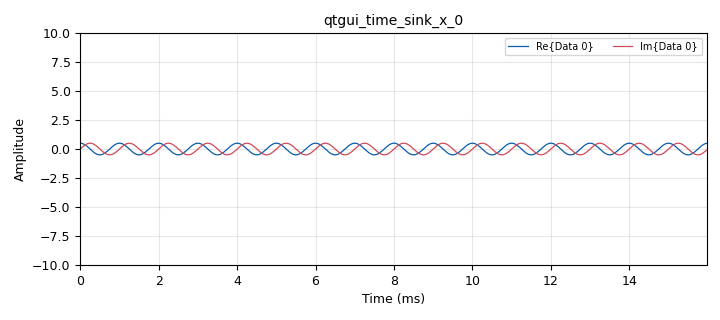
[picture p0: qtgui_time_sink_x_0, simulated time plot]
<?xml version='1.0' encoding='utf-8'?>
<?grc format='1' created='3.7.7'?>
<flow_graph>
<block>
<key>options</key>
<param><key>id</key><value>blocks_multiply_const</value></param>
<param><key>generate_options</key><value>qt_gui</value></param>
<param><key>category</key><value>Custom</value></param>
</block>
<block>
<key>variable</key>
<param><key>id</key><value>samp_rate</value></param>
<param><key>value</key><value>32000</value></param>
</block>
<block>
<key>blocks_throttle</key>
<param><key>id</key><value>blocks_throttle_0</value></param>
<param><key>type</key><value>complex</value></param>
<param><key>samples_per_second</key><value>samp_rate</value></param>
</block>
<block>
<key>blocks_multiply_const_vxx</key>
<param><key>id</key><value>blocks_multiply_const_vxx_0</value></param>
<param><key>type</key><value>complex</value></param>
<param><key>const</key><value>k</value></param>
<param><key>affinity</key><value>4</value></param>
</block>
<block>
<key>analog_sig_source_x</key>
<param><key>id</key><value>analog_sig_source_x_0</value></param>
<param><key>type</key><value>complex</value></param>
<param><key>samp_rate</key><value>samp_rate</value></param>
<param><key>waveform</key><value>analog.GR_COS_WAVE</value></param>
<param><key>freq</key><value>1000</value></param>
<param><key>amp</key><value>1</value></param>
<param><key>offset</key><value>0</value></param>
</block>
<block>
<key>variable_qtgui_range</key>
<param><key>id</key><value>k</value></param>
<param><key>label</key><value>Constant</value></param>
<param><key>value</key><value>0.5</value></param>
<param><key>start</key><value>0</value></param>
<param><key>stop</key><value>10</value></param>
<param><key>step</key><value>0.1</value></param>
<param><key>orient</key><value>Qt.Horizontal</value></param>
</block>
<block>
<key>qtgui_time_sink_x</key>
<param><key>id</key><value>qtgui_time_sink_x_0</value></param>
<param><key>type</key><value>complex</value></param>
<param><key>name</key><value></value></param>
<param><key>size</key><value>512</value></param>
<param><key>srate</key><value>samp_rate</value></param>
<param><key>ymin</key><value>-10</value></param>
<param><key>ymax</key><value>10</value></param>
<param><key>label1</key><value></value></param>
<param><key>color1</key><value>"blue"</value></param>
<param><key>label2</key><value></value></param>
<param><key>color2</key><value>"red"</value></param>
</block>
<connection><source_block_id>analog_sig_source_x_0</source_block_id><sink_block_id>blocks_throttle_0</sink_block_id><source_key>0</source_key><sink_key>0</sink_key></connection>
<connection><source_block_id>blocks_throttle_0</source_block_id><sink_block_id>blocks_multiply_const_vxx_0</sink_block_id><source_key>0</source_key><sink_key>0</sink_key></connection>
<connection><source_block_id>blocks_multiply_const_vxx_0</source_block_id><sink_block_id>qtgui_time_sink_x_0</sink_block_id><source_key>0</source_key><sink_key>0</sink_key></connection>
</flow_graph>
